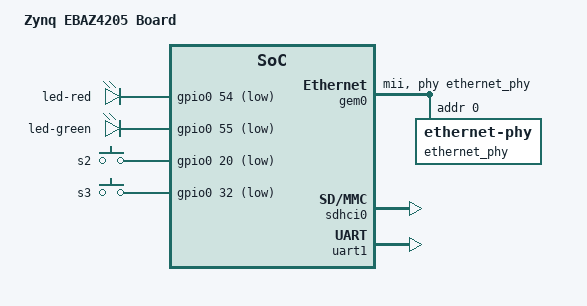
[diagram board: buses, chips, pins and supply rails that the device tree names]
/ {
    model = "Zynq EBAZ4205 Board";

    aliases {
        ethernet0 = &gem0;
        serial0 = &uart1;
        mmc0 = &sdhci0;
        nand0 = &nand0;
    };

    gpio-leds {
        compatible = "gpio-leds";

        led-red {
            label = "led-red";
            gpios = <&gpio0 54 1>;
            default-state = "on";
            linux,default-trigger = "heartbeat";
        };

        led-green {
            label = "led-green";
            gpios = <&gpio0 55 1>;
            default-state = "off";
        };
    };

    gpio-keys {
        compatible = "gpio-keys";
        autorepeat;

        s2 {
            label = "s2";
            gpios = <&gpio0 20 1>;
            linux,code = <102>;
            wakeup-source;
        };

        s3 {
            label = "s3";
            gpios = <&gpio0 32 1>;
            linux,code = <116>;
            wakeup-source;
        };
    };
};

&gem0 {
    status = "okay";
    phy-mode = "mii";
    phy-handle = <&ethernet_phy>;

    ethernet_phy: ethernet-phy@0 {
        reg = <0x0>;
        device_type = "ethernet-phy";
    };
};

&sdhci0 {
    status = "okay";
    xlnx,has-cd = <0x1>;
    xlnx,has-power = <0x0>;
    xlnx,has-wp = <0x0>;
};

&uart1 {
    status = "okay";
};

&nand0 {
    status = "disabled";
};

